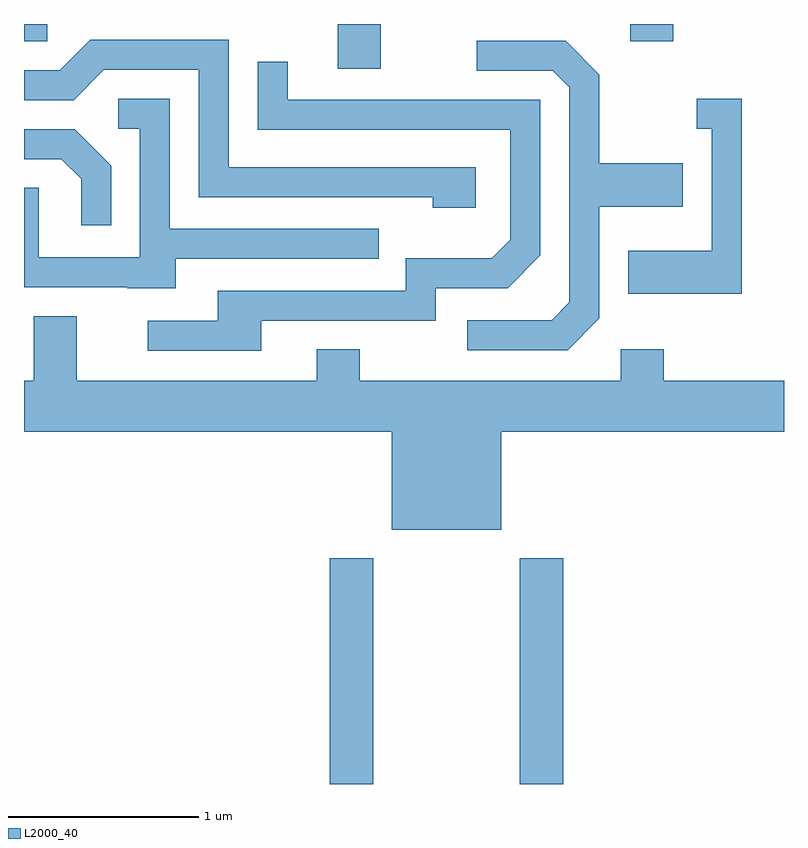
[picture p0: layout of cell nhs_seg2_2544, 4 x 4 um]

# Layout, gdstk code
import gdstk
lib = gdstk.Library(unit=1e-6, precision=1e-09)
def R(c, l, rs):  # rectangles x0, y0, x1, y1
    for r in rs: c.add(gdstk.rectangle(r[:2], r[2:], *l))
def P(c, l, *ps):  # polygons
    for p in ps: c.add(gdstk.Polygon(p, *l))
L2000_40 = (2000, 40)

nhs_seg2_2544 = lib.new_cell('nhs_seg2_2544')
R(nhs_seg2_2544, L2000_40, [(261.221,1039.802,261.449,1040.989), (262.221,1039.802,262.449,1040.989), (261.261,1043.566,261.489,1043.802), (259.611,1043.711,259.734,1043.802), (262.801,1043.711,263.029,1043.802)])
P(nhs_seg2_2544, L2000_40, [(261.989,1043.049),(260.689,1043.049),(260.689,1043.719),(259.959,1043.719),(259.799,1043.559),(259.611,1043.559),(259.611,1043.401),(259.872,1043.401),(260.032,1043.561),(260.531,1043.561),(260.531,1042.891),(261.761,1042.891),(261.761,1042.836),(261.989,1042.836)],
  [(262.639,1042.254),(262.639,1042.841),(263.079,1042.841),(263.079,1043.069),(262.639,1043.069),(262.639,1043.536),(262.462,1043.714),(261.993,1043.714),(261.993,1043.556),(262.394,1043.556),(262.481,1043.469),(262.481,1042.337),(262.389,1042.244),(261.943,1042.244),(261.943,1042.086),(262.472,1042.086)],
  [(260.859,1042.241),(261.779,1042.241),(261.779,1042.411),(262.157,1042.411),(262.329,1042.584),(262.329,1043.404),(260.999,1043.404),(260.999,1043.603),(260.841,1043.603),(260.841,1043.246),(262.171,1043.246),(262.171,1042.667),(262.074,1042.569),(261.621,1042.569),(261.621,1042.399),(260.631,1042.399),(260.631,1042.239),(260.263,1042.239),(260.263,1042.081),(260.859,1042.081)],
  [(260.409,1042.566),(261.478,1042.566),(261.478,1042.724),(260.379,1042.724),(260.379,1043.409),(260.108,1043.409),(260.108,1043.251),(260.221,1043.251),(260.221,1042.574),(259.689,1042.574),(259.689,1042.939),(259.611,1042.939),(259.611,1042.416),(260.155,1042.416),(260.155,1042.411),(260.409,1042.411)],
  [(263.389,1043.409),(263.153,1043.409),(263.153,1043.251),(263.231,1043.251),(263.231,1042.609),(262.791,1042.609),(262.791,1042.381),(263.389,1042.381)],
  [(260.069,1043.056),(259.877,1043.249),(259.611,1043.249),(259.611,1043.091),(259.808,1043.091),(259.911,1042.988),(259.911,1042.743),(260.069,1042.743)],
  [(261.546,1041.141),(262.124,1041.141),(262.124,1041.656),(263.611,1041.656),(263.611,1041.924),(262.979,1041.924),(262.979,1042.089),(262.751,1042.089),(262.751,1041.924),(261.379,1041.924),(261.379,1042.089),(261.151,1042.089),(261.151,1041.924),(259.889,1041.924),(259.889,1042.264),(259.661,1042.264),(259.661,1041.924),(259.611,1041.924),(259.611,1041.656),(261.546,1041.656)])

lib.write_gds('nhs_seg2_2544.gds')
